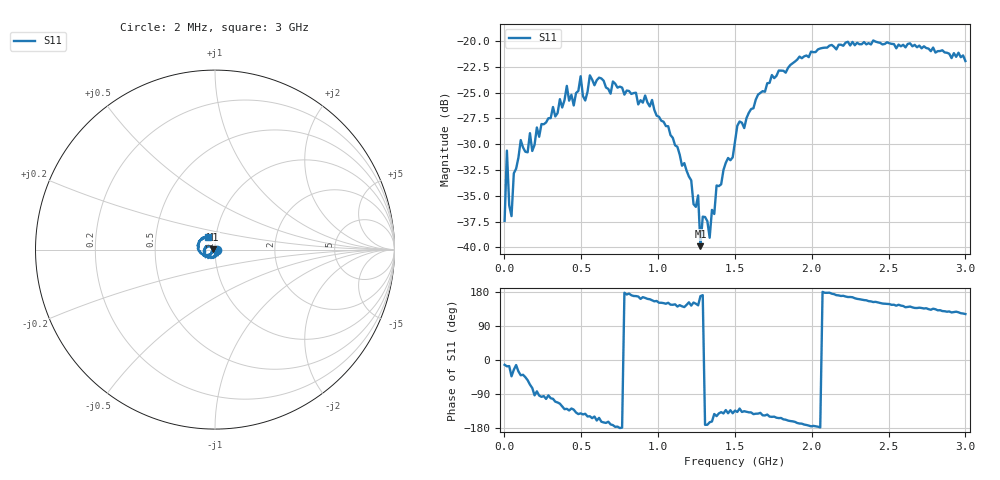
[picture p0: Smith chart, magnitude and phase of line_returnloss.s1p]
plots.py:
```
import numpy as np
import pandas as pd
import matplotlib.pyplot as plt
import math

from matplotlib.ticker import EngFormatter

Z0 = 50
c0 = 299792458

# Quick and dirty Touchstone file reader for S1P
def read_s1p_file(fd):
    lines = filter(lambda s: not s.startswith('!') and not s.isspace(), fd.readlines())
    option_line, *data = lines
    if not option_line.startswith("#"):
        raise ValueError('Invalid Touchstone file')
    freq_unit, parameter, fmt, _, Z0 = option_line.lstrip(
        '#').casefold().split()
    if freq_unit == 'hz':
        freq_exp = 1
    elif freq_unit == 'khz':
        freq_exp = 1e3
    elif freq_unit == 'mhz':
        freq_exp = 1e6
    elif freq_unit == 'ghz':
        freq_exp = 1e9
    else:
        raise ValueError('Invalid frequency unit in Touchstone file')
    if not(parameter == 's' and fmt == 'ri'):
        raise ValueError('Unexpected Touchstone format, bailing...')
    mat = np.array([list(map(float, l.split())) for l in data])
    freq = freq_exp * mat[:,0]
    s11 = mat[:,1] + 1j * mat[:,2]
    return freq, s11

def X_C(freq, C):
    return 1/(2*math.pi*C*freq)

data = pd.read_csv("probe_insertionloss.csv", skiprows=51, header=None)
with open("probed_line_returnloss.s1p") as fd:
    freq, s11_probed_line = read_s1p_file(fd)

with open("line_returnloss.s1p") as fd:
    _,s11_line = read_s1p_file(fd)

# add a port extension to account for measured electrical length from calibration plane to board edge of exposed line
meas_plane_shift = 14.839e-3
port_extension = np.exp(1j*2*meas_plane_shift*2*np.pi/c0*freq)
s11_probed_line = port_extension * s11_probed_line
s11_line = port_extension * s11_line

z_probed_line = Z0 * (1 + s11_probed_line) / (1 - s11_probed_line)
z_line = Z0 * (1 + s11_line) / (1 - s11_line)
z_probe_only = 1/(1/z_probed_line - 1/z_line)
min_freq_index = (freq >= 1e8).argmax()

plt.figure(figsize=(10,6))
ax = plt.axes()
plt.plot(data[0], data[1])
plt.xscale('log')
plt.xlabel('Frequency')
ax.xaxis.set_major_formatter(EngFormatter(unit='Hz'))
plt.yscale('linear')
plt.ylabel('$|S_{21}|$ (dB)')
plt.grid(axis='both', which='both')

plt.title('Probe insertion loss')
plt.tight_layout()
plt.savefig("probe_s21.svg", format='svg')

plt.figure(figsize=(10,6))
ax = plt.axes()
plt.plot(freq[min_freq_index:], abs(z_probe_only[min_freq_index:]))
trend_freq = np.logspace(8, 9, 20)
plt.plot(trend_freq, X_C(trend_freq, 1e-12))
ax.annotate("1 pF", xy=(800e6, X_C(800e6, 1e-12)), xycoords='data', xytext=(50,30), textcoords='offset points', arrowprops=dict(arrowstyle='->', facecolor='black'))
plt.xscale('log')
plt.xlabel('Frequency')
ax.xaxis.set_major_formatter(EngFormatter(unit='Hz'))
plt.yscale('log')
plt.ylabel('Impedance')
ax.yaxis.set_major_formatter(EngFormatter(unit='Ω'))
plt.grid(axis='both', which='both')

plt.title('Probe input impedance')
plt.tight_layout()
plt.savefig("probe_z.svg", format='svg')


plt.show()
```
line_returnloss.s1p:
! 1-port S-parameter data taken at 201 frequency points
! Created by R&S SxP Library version 0.2.0 at 08-12-2023 12:05:56
# Hz S RI R 50
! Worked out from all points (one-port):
!   201 points, 2 MHz to 3 GHz, reference 50 ohm
!   lowest |S11| = -39.9 dB at 1.276 GHz (marker M1), VSWR 1.02, Z = 49 + j0.196 ohm
!   |S11| at or under -10 dB: start of sweep to end of sweep
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2000000  0.0131 -0.00294
1.699e7  0.0282 -0.00848
4.697e7  0.0104 -0.00968
6.196e7  0.0206 -0.00987
1.0693e8  0.0253 -0.0214
1.8188e8  0.00813 -0.0282
4.9667e8  -0.0523 -0.0428
1.00633e9  -0.0376 0.0207
1.26116e9  -0.0145 0.0104
1.27615e9  -0.00995 0.002
1.29114e9  -0.0139 0.00218
1.53098e9  -0.0252 -0.0321
2.01066e9  -0.0879 -0.00948
3e9  -0.0417 0.0684
